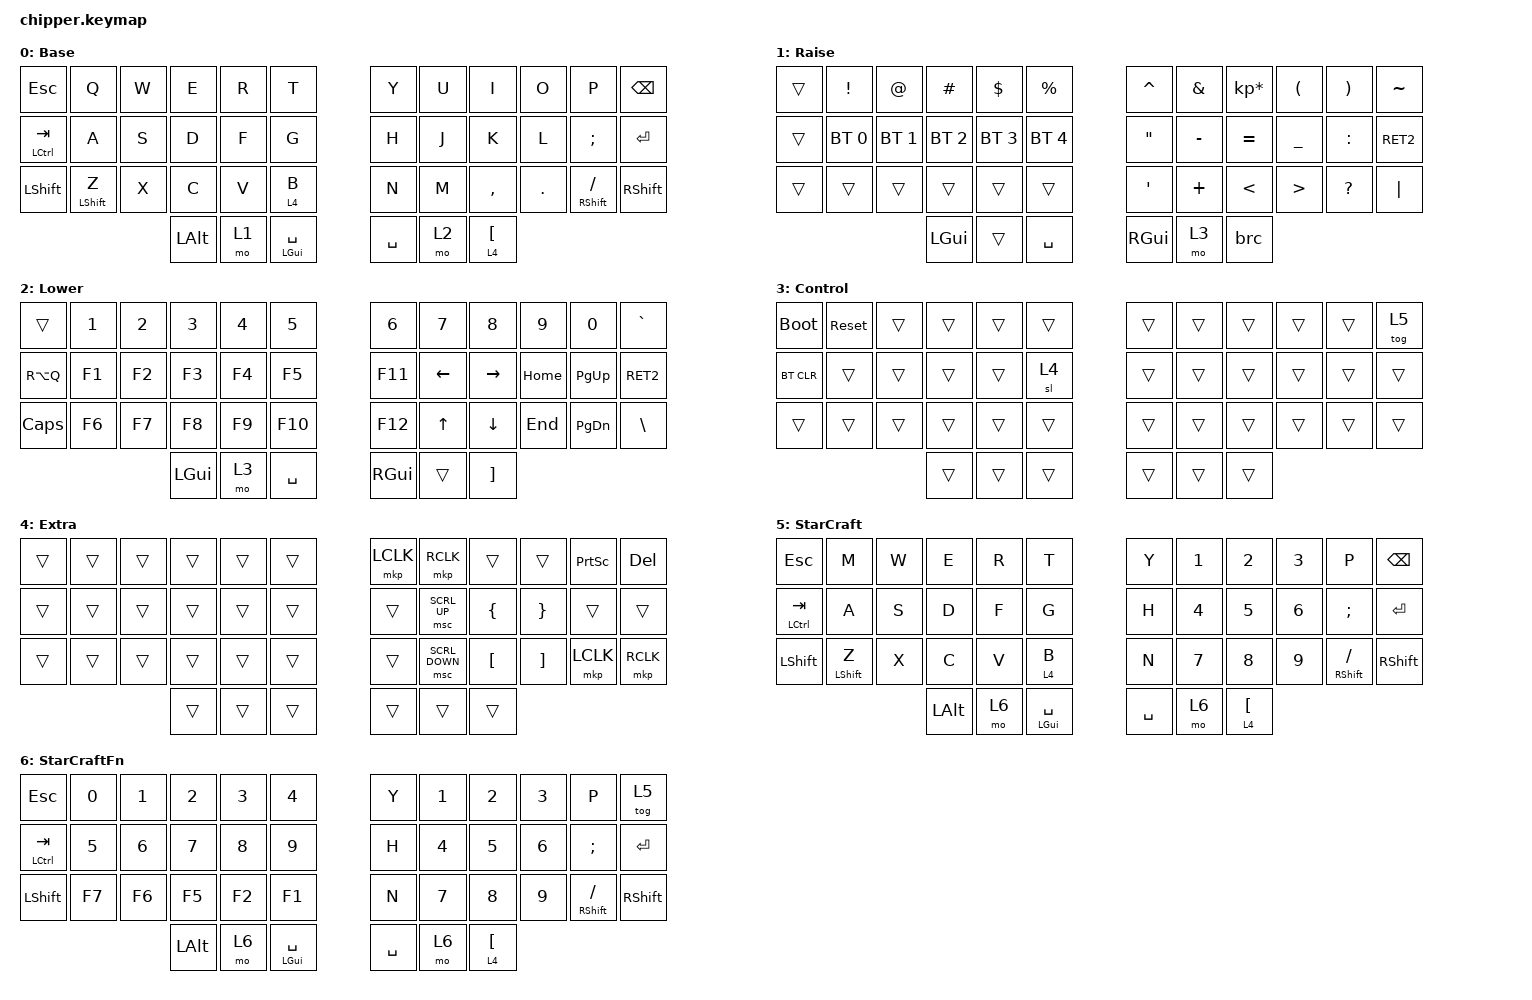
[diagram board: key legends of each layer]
/*
 * Copyright (c) 2020 The ZMK Contributors
 *
 * SPDX-License-Identifier: MIT
 */

#include <behaviors.dtsi>
#include <dt-bindings/zmk/bt.h>
#include <dt-bindings/zmk/keys.h>
#include <dt-bindings/zmk/keys.h>
#include <dt-bindings/zmk/outputs.h>
#include <dt-bindings/zmk/mouse.h>

#define ZMK_POINTING_DEFAULT_SCRL_VAL 30    // default: 10
#include <dt-bindings/zmk/pointing.h>

&mt {
   flavor = "balanced";
};

/ {

    behaviors {
        bkt: brackets {
            compatible = "zmk,behavior-tap-dance";
            display-name = "Brackets";
            #binding-cells = <0>;
            tapping-term-ms = <100>;
            bindings = <&lt 4 LBKT>, <&kp RBKT>;
        };
        brc: braces {
            compatible = "zmk,behavior-tap-dance";
            display-name = "Braces";
            #binding-cells = <0>;
            tapping-term-ms = <100>;
            bindings = <&kp LBRC>, <&kp RBRC>;
        };
    };


    macros {
    };

    keymap {
        compatible = "zmk,keymap";

        Base {
            // -----------------------------------------------------------------------------------------
            // | ESC  |  Q  |  W  |  E  |  R  |  T  |   |  Y  |  U   |  I  |  O  |  P  | BKSP |
            // | CTRL |  A  |  S  |  D  |  F  |  G  |   |  H  |  J   |  K  |  L  |  ;  | RET  |
            // | SHFT |  Z  |  X  |  C  |  V  |  B  |   |  N  |  M   |  ,  |  .  |  /  | SHFT |
            //                    | ALT | RSE | SPC |   | SPC | LWR  |  [  |

            display-name = "Base";
            bindings = <
  &kp ESC        &kp Q        &kp W      &kp E  &kp R      &kp T      &kp Y  &kp U      &kp I      &kp O    &kp P            &kp BSPC
  &mt LCTRL TAB  &kp A        &kp S      &kp D  &kp F      &kp G      &kp H  &kp J      &kp K      &kp L    &kp SEMI         &kp RET
  &kp LSHFT      &mt LSHFT Z  &kp X      &kp C  &kp V      &lt 4 B    &kp N  &kp M      &kp COMMA  &kp DOT  &mt RSHIFT SLASH &kp RSHIFT
                         &kp LALT  &mo 1  &mt LGUI SPACE   &kp SPACE  &mo 2   &lt 4 LBKT
            >;
        };

        Raise {
            // -----------------------------------------------------------------------------------------
            // |      |  !  |  @  |  #  |  $  |  %  |   |  ^  |  &  |  *  |  (  |  )  | ~ |
            // |      | BT1 | BT2 | BT3 | BT4 | BT5 |   |  "  |  -  |  =  |  _  |  :  |   |
            // | SHFT |     |     |     |     |     |   |  '  |  +  |  <  |  >  |  ?  | | | ,
            //                     | GUI |     | ENT |   | RGUI |  L3 |  { |

            display-name = "Raise";
            bindings = <
&trans &kp EXCL     &kp AT       &kp HASH     &kp DLLR      &kp PRCNT     &kp CARET  &kp AMPS  &kp KP_MULTIPLY  &kp LPAR  &kp RPAR &kp TILDE
&trans &bt BT_SEL 0 &bt BT_SEL 1 &bt BT_SEL 2 &bt BT_SEL 3  &bt BT_SEL 4  &kp DQT    &kp MINUS &kp EQUAL        &kp UNDER &kp COLON &kp RET2
&trans &trans       &trans       &trans       &trans        &trans        &kp SQT    &kp PLUS  &kp LT           &kp GT    &kp QMARK &kp PIPE
                                   &kp LGUI   &trans  &kp SPACE   &kp RGUI &mo 3   &brc
            >;
        };

        Lower {
            // -----------------------------------------------------------------------------------------
            // |      |  1  |  2  |  3  |  4  |  5   |   |  6  |  7    |  8    |  9    |  0   |  `   |
            // | RA(Q)|  F1 |  F2 |  F3 |  F4 |  F5  |   | F11 |  LEFT | RIGHT |  HOME | PGUP |	 RET |
            // | CAPS |  F6 |  F7 |  F8 |  F9 |  F10 |   | F12 |   UP  | DOWN  |  END  | PGDN |   \  |
            //                    | GUI |  L3 |  SPC |   | RGUI |       |  |

            display-name = "Lower";
            bindings = <
&trans    &kp N1 &kp N2 &kp N3 &kp N4  &kp N5  &kp N6   &kp N7   &kp N8    &kp N9   &kp N0    &kp GRAVE
&kp RA(Q) &kp F1 &kp F2 &kp F3 &kp F4  &kp F5  &kp F11  &kp LEFT &kp RIGHT &kp HOME &kp PG_UP &kp RET2
&kp CAPS  &kp F6 &kp F7 &kp F8 &kp F9  &kp F10 &kp F12  &kp UP   &kp DOWN  &kp END  &kp PG_DN &kp BACKSLASH
                          &kp LGUI &mo 3  &kp SPACE     &kp RGUI &trans &kp RBKT
            >;
        };

        Control {
            display-name = "Control";
            bindings = <
&bootloader  &sys_reset  &trans  &trans   &trans  &trans    &trans     &trans  &trans  &trans  &trans  &tog 5
&bt BT_CLR   &trans      &trans  &trans   &trans  &sl 4     &trans     &trans  &trans  &trans  &trans  &trans
&trans  &trans  &trans  &trans        &trans  &trans    &trans         &trans  &trans  &trans  &trans  &trans
                        &trans  &trans &trans    &trans  &trans &trans
            >;
        };

        Extra {
            display-name = "Extra";
            bindings = <
 &trans &trans &trans &trans &trans &trans    &mkp LCLK &mkp RCLK &trans   &trans   &kp PSCRN &kp DEL
 &trans &trans &trans &trans &trans &trans    &trans    &msc SCRL_UP   &kp LBRC &kp RBRC &trans    &trans
 &trans &trans &trans &trans &trans &trans    &trans    &msc SCRL_DOWN &kp LBKT &kp RBKT &mkp LCLK &mkp RCLK
              &trans   &trans  &trans           &trans    &trans   &trans
            >;
        };

        StarCraft {
          display-name = "StarCraft";
          bindings = <
  &kp ESC        &kp M        &kp W      &kp E  &kp R      &kp T      &kp Y  &kp N1 &kp N2 &kp N3 &kp P            &kp BSPC
  &mt LCTRL TAB  &kp A        &kp S      &kp D  &kp F      &kp G      &kp H  &kp N4 &kp N5 &kp N6 &kp SEMI         &kp RET
  &kp LSHFT      &mt LSHFT Z  &kp X      &kp C  &kp V      &lt 4 B    &kp N  &kp N7 &kp N8 &kp N9 &mt RSHIFT SLASH &kp RSHIFT
                          &kp LALT  &mo 6  &mt LGUI SPACE   &kp SPACE  &mo 6   &lt 4 LBKT
            >;
        };
        StarCraftFn {
          display-name = "StarCraftFn";
          bindings = <
  &kp ESC        &kp N0  &kp N1  &kp N2  &kp N3  &kp N4   &kp Y  &kp N1 &kp N2 &kp N3 &kp P            &tog 5
  &mt LCTRL TAB  &kp N5  &kp N6  &kp N7  &kp N8  &kp N9   &kp H  &kp N4 &kp N5 &kp N6 &kp SEMI         &kp RET
  &kp LSHFT      &kp F7 &kp F6 &kp F5 &kp F2 &kp F1  &kp N  &kp N7 &kp N8 &kp N9 &mt RSHIFT SLASH &kp RSHIFT
                          &kp LALT  &mo 6  &mt LGUI SPACE   &kp SPACE  &mo 6   &lt 4 LBKT
            >;
        };



    };
};
